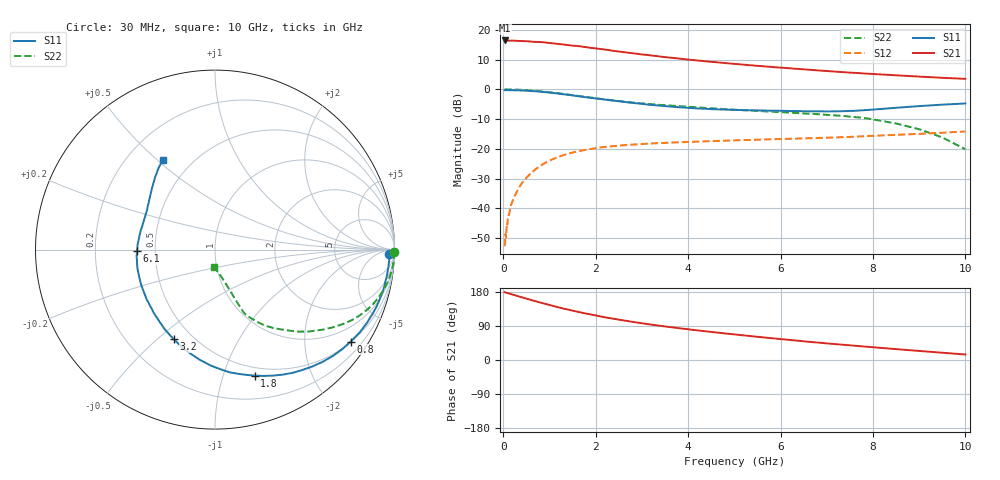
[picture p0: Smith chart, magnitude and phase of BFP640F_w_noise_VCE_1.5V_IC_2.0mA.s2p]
! Infineon Technologies  Discrete & RF Semiconductors
! BFP640F
! VCE =  1.5 V,  IC =  2.0 mA
! Common Emitter S-Parameters:  Apr 2013
# GHz  S  MA  R  50
!  f  S11  S21  S12  S22
! GHz  MAG  ANG  MAG  ANG  MAG  ANG  MAG  ANG
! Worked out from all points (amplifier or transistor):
!   99 points, 30 MHz to 10 GHz, reference 50 ohm
!   highest |S21| = 16.5 dB at 30 MHz (marker M1)
!   |S21| within 3 dB of that: start of sweep to 2.171 GHz
!   unconditionally stable (mu >= 1): 5.837 GHz to end of sweep
!   at 350 MHz: K = 0.01, MSG = 24.6 dB, |S12| = -32.8 dB
!   at 3.5 GHz: K = 0.68, MSG = 14.4 dB, |S12| = -18.0 dB
!   at 10 GHz: K = 1.21, MAG = 6.1 dB, |S12| = -14.2 dB
!   lowest NFmin = 0.46 dB at 450 MHz
!   S11 on the Smith chart (normalised r, x): 30 MHz: 43, -35; 800 MHz: 0.51, -3.19; 1.8 GHz: 0.42, -1.28; 3.2 GHz: 0.40, -0.57; 6.1 GHz: 0.39, -0.01; 10 GHz: 0.35, +0.52
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0.03  0.9722 -1.3  6.662 178.9  0.0023 94.5  0.9998 -0.7
0.04  0.973 -1.7  6.459 178.6  0.0026 90.4  0.9994 -1.0
0.05  0.9732 -2.1  6.586 178.4  0.0037 109.6  0.9997 -1.2
0.06  0.971 -2.5  6.568 177.7  0.0032 88.0  0.9985 -1.5
0.08  0.9722 -3.5  6.576 177.1  0.0056 92.7  0.9989 -1.9
0.1  0.9718 -4.3  6.624 176.4  0.0069 90.4  0.9982 -2.5
0.25  0.9659 -10.7  6.597 171.0  0.0162 83.2  0.9926 -6.1
0.5  0.9504 -21.3  6.463 162.0  0.0324 79.3  0.9721 -12.1
0.8  0.9139 -34.1  6.27 151.7  0.0515 72.0  0.9321 -18.9
1.3  0.8284 -54.1  5.71 135.8  0.0783 59.9  0.8405 -28.8
1.7  0.7539 -69.0  5.256 124.8  0.0934 52.0  0.7632 -35.2
1.8  0.7361 -72.5  5.131 122.3  0.0967 50.4  0.747 -36.7
2.2  0.6738 -86.1  4.685 112.7  0.1075 44.2  0.6801 -42.2
2.5  0.6314 -95.1  4.343 106.5  0.1133 40.4  0.638 -45.5
3.2  0.5488 -114.7  3.729 93.4  0.123 34.0  0.5641 -51.5
3.4  0.5318 -119.8  3.57 90.2  0.1249 32.7  0.5477 -53.0
4.1  0.4831 -136.7  3.127 79.6  0.1314 28.8  0.5048 -56.7
5.1  0.4497 -159.4  2.649 66.3  0.1395 25.2  0.4519 -60.8
6.1  0.4353 -179.0  2.298 54.1  0.147 23.0  0.4105 -64.0
6.7  0.4274 168.8  2.119 47.1  0.1514 21.9  0.3869 -65.4
8.5  0.4904 135.7  1.727 28.7  0.1719 20.1  0.267 -68.9
10  0.5795 120.0  1.505 14.5  0.1958 17.2  0.0982 -92.2
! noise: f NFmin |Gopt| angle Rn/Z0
0.45  0.46  0.63  10  0.28
0.9  0.57  0.59  22  0.27
1.5  0.67  0.58  31  0.27
1.9  0.72  0.54  46  0.26
2.4  0.8  0.51  62  0.26
3.5  0.94  0.43  82  0.25
5.5  1.26  0.36  145  0.24
10  2.23  0.53  -110  0.45
